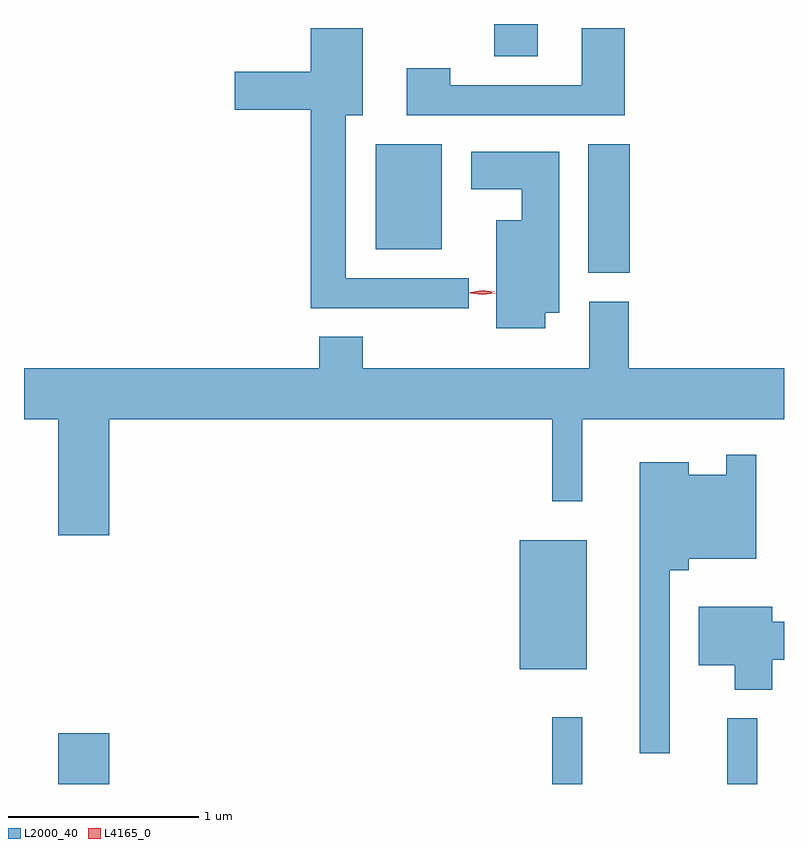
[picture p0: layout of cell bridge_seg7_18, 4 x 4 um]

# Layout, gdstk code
import gdstk
lib = gdstk.Library(unit=1e-6, precision=1e-09)
def R(c, l, rs):  # rectangles x0, y0, x1, y1
    for r in rs: c.add(gdstk.rectangle(r[:2], r[2:], *l))
def P(c, l, *ps):  # polygons
    for p in ps: c.add(gdstk.Polygon(p, *l))
L2000_40 = (2000, 40)
L4165_0 = (4165, 0)

bridge_seg7_18 = lib.new_cell('bridge_seg7_18')
R(bridge_seg7_18, L2000_40, [(1693.596,1739.036,1693.864,1739.304), (1696.196,1739.036,1696.354,1739.388), (1697.116,1739.036,1697.274,1739.383), (1696.026,1739.641,1696.379,1740.319), (1696.386,1741.726,1696.604,1742.404), (1695.266,1741.851,1695.614,1742.404), (1695.891,1742.866,1696.119,1743.036)])
P(bridge_seg7_18, L2000_40, [(1695.758,1741.699),(1695.109,1741.699),(1695.109,1742.556),(1695.199,1742.556),(1695.199,1743.014),(1694.926,1743.014),(1694.926,1742.784),(1694.526,1742.784),(1694.526,1742.586),(1694.926,1742.586),(1694.926,1741.541),(1695.758,1741.541)],
  [(1696.579,1743.014),(1696.351,1743.014),(1696.351,1742.714),(1695.659,1742.714),(1695.659,1742.804),(1695.431,1742.804),(1695.431,1742.556),(1696.579,1742.556)],
  [(1696.159,1741.516),(1696.234,1741.516),(1696.234,1742.364),(1695.771,1742.364),(1695.771,1742.166),(1696.036,1742.166),(1696.036,1742.004),(1695.901,1742.004),(1695.901,1741.436),(1696.159,1741.436)],
  [(1693.864,1740.956),(1696.196,1740.956),(1696.196,1740.523),(1696.354,1740.523),(1696.354,1740.956),(1697.416,1740.956),(1697.416,1741.224),(1696.599,1741.224),(1696.599,1741.574),(1696.391,1741.574),(1696.391,1741.224),(1695.199,1741.224),(1695.199,1741.389),(1694.971,1741.389),(1694.971,1741.224),(1693.416,1741.224),(1693.416,1740.956),(1693.596,1740.956),(1693.596,1740.346),(1693.864,1740.346)],
  [(1696.814,1740.161),(1696.914,1740.161),(1696.914,1740.221),(1697.269,1740.221),(1697.269,1740.768),(1697.111,1740.768),(1697.111,1740.664),(1696.914,1740.664),(1696.914,1740.729),(1696.656,1740.729),(1696.656,1739.198),(1696.814,1739.198)],
  [(1697.354,1739.691),(1697.416,1739.691),(1697.416,1739.889),(1697.354,1739.889),(1697.354,1739.969),(1696.966,1739.969),(1696.966,1739.661),(1697.156,1739.661),(1697.156,1739.531),(1697.354,1739.531)])
P(bridge_seg7_18, L4165_0, [(1695.828,1741.61),(1695.761,1741.619),(1695.76,1741.62),(1695.761,1741.62),(1695.828,1741.63),(1695.896,1741.62),(1695.896,1741.62),(1695.896,1741.619)],
  [(1695.828,1741.614),(1695.764,1741.622),(1695.764,1741.623),(1695.764,1741.624),(1695.828,1741.634),(1695.891,1741.626),(1695.891,1741.626),(1695.891,1741.626)])

lib.write_gds('bridge_seg7_18.gds')
